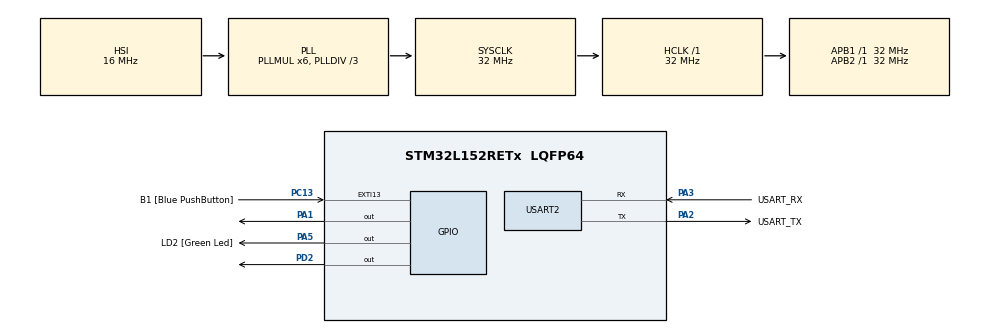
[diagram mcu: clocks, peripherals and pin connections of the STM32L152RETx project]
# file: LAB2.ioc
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Mcu.Family=STM32L1
Mcu.Name=STM32L152RETx
Mcu.Package=LQFP64
NVIC.PriorityGroup=NVIC_PRIORITYGROUP_0
PA1.Signal=GPIO_Output
PA13.GPIO_Label=TMS
PA13.Mode=Serial_Wire
PA13.Signal=SYS_JTMS-SWDIO
PA14.GPIO_Label=TCK
PA14.Mode=Serial_Wire
PA14.Signal=SYS_JTCK-SWCLK
PA2.GPIO_Label=USART_TX
PA2.Mode=Asynchronous
PA2.Signal=USART2_TX
PA3.GPIO_Label=USART_RX
PA3.Mode=Asynchronous
PA3.Signal=USART2_RX
PA5.GPIO_Label=LD2 [Green Led]
PA5.Signal=GPIO_Output
PB3.GPIO_Label=SWO
PB3.Signal=SYS_JTDO-TRACESWO
PC13-WKUP2.GPIO_Label=B1 [Blue PushButton]
PC13-WKUP2.Signal=GPXTI13
PC14-OSC32_IN.Mode=LSE-External-Oscillator
PC14-OSC32_IN.Signal=RCC_OSC32_IN
PC15-OSC32_OUT.Mode=LSE-External-Oscillator
PC15-OSC32_OUT.Signal=RCC_OSC32_OUT
PD2.Signal=GPIO_Output
PH0-OSC_IN.Mode=HSE-External-Clock-Source
PH0-OSC_IN.Signal=RCC_OSC_IN
PH1-OSC_OUT.Signal=RCC_OSC_OUT
ProjectManager.HeapSize=0x200
ProjectManager.StackSize=0x400
ProjectManager.TargetToolchain=STM32CubeIDE
RCC.48MHZClocksFreq_Value=48000000
RCC.AHBFreq_Value=32000000
RCC.APB1Freq_Value=32000000
RCC.APB1TimFreq_Value=32000000
RCC.APB2Freq_Value=32000000
RCC.APB2TimFreq_Value=32000000
RCC.HCLKFreq_Value=32000000
RCC.HSE_VALUE=8000000
RCC.HSI_VALUE=16000000
RCC.MSI_VALUE=2097000
RCC.PLLDIV=RCC_PLL_DIV3
RCC.PLLMUL=RCC_PLL_MUL6
RCC.RTCClockSelectionVirtual=RCC_RTCCLKSOURCE_LSE
RCC.SYSCLKFreq_VALUE=32000000
RCC.SYSCLKSource=RCC_SYSCLKSOURCE_PLLCLK
RCC.USBOutput=48000000
RCC.VCOOutputFreq_Value=96000000
USART2.VirtualMode=VM_ASYNC
VP_TIM2_VS_ClockSourceINT.Mode=Internal
VP_TIM3_VS_ClockSourceINT.Mode=Internal
board=NUCLEO-L152RE

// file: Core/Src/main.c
/* IN THIS LAB WE WILL LEARN HOW TO USE THE ULTRASONIC SENSOR WITH TIMERS */
/* USER CODE BEGIN Header */
/**
  ******************************************************************************
  * @file           : main.c
  * @brief          : Main program body
  ******************************************************************************
  * @attention
  *
  * Copyright (c) 2023 STMicroelectronics.
  * All rights reserved.
  *
  * This software is licensed under terms that can be found in the LICENSE file
  * in the root directory of this software component.
  * If no LICENSE file comes with this software, it is provided AS-IS.
  *
  ******************************************************************************
  */
/* USER CODE END Header */
#include "main.h"

/* USER CODE BEGIN Includes */
#include "Utiles_SDM.h"
/* USER CODE END Includes */

TIM_HandleTypeDef htim2;
TIM_HandleTypeDef htim3;

UART_HandleTypeDef huart2;

/* USER CODE BEGIN PV */

unsigned char cadena[7];
unsigned short distance = 0;                // Measured distance in mm by the ultrasonic sensor
unsigned short triggerTime = 20;            // TIM2->CCR2
unsigned short detectionPeriod = 65000;     // TIM2->CCR3
unsigned short buzzerPeriod = 500;          // TIM2->CCR3
unsigned short startTime = 0;               // Stores the time at which the echo is triggered
int time = 0;
unsigned short buzzerToggleChange = 0;
unsigned short callDistanceFunction = 0, callTriggerFunction = 0, cicloFlag = 0, initialValue = 0;

/* USER CODE END PV */

void SystemClock_Config(void);
static void MX_GPIO_Init(void);
static void MX_USART2_UART_Init(void);
static void MX_TIM2_Init(void);
static void MX_TIM3_Init(void);
/* USER CODE BEGIN PFP */
void calculateDistance(void);   // Declarations of functions
void ultrasonicTrigger(void);
/* USER CODE END PFP */

/* USER CODE BEGIN 0 */

// TOGGLE BUZZER FUNCTION
void TIM3_IRQHandler(void) {
  if((TIM3->SR & 0x0002) != 0) {
    TIM3->CCR1 += buzzerPeriod;
    buzzerToggleChange++;
    if(buzzerToggleChange>1) buzzerToggleChange=0;
  }
  TIM3->SR &= ~(0x0002);
}

// CALCULATE DISTANCE FUNCTION
void calculateDistance(void) {
  // Apply the formula to calculate the distance (in mm) and store it in a variable
  distance = (0.034 * time) / 2;

}

// TRIGGER FUNCTION
void ultrasonicTrigger(void) {
  TIM3->CNT = 0;                      // Initialize the counter at 0
  GPIOD->BSRR = (1 << 2);             // Set Trigger PIN (1)
}

// HANDLES THE BUZZER AND ECHO TIM2
void TIM2_IRQHandler(void) {
  // Corresponds to the echo flag
  if((TIM2->SR & 0x0004) != 0) {      // CHANNEL 2
    TIM2->CCR2 += detectionPeriod;
    cicloFlag = 1;
    TIM2->SR &= ~(0x0004);
  }
}
/* USER CODE END 0 */

int main(void)
{

  /* MCU Configuration--------------------------------------------------------*/

  /* Reset of all peripherals, Initializes the Flash interface and the Systick. */
  HAL_Init();

  /* Configure the system clock */
  SystemClock_Config();

  /* Initialize all configured peripherals */
  MX_GPIO_Init();
  MX_USART2_UART_Init();
  MX_TIM2_Init();
  MX_TIM3_Init();
  /* USER CODE BEGIN 2 */

  // CONFIG BUZZER GPIO
  GPIOA->MODER &= ~(1 << (1*2 +1));    // PA1 as Digital Output (01)
  GPIOA->MODER |= (1 << (1*2));

  // CONFIG TRIGGER GPIO
  GPIOD->MODER &= ~(1 << (2*2 +1));   // PD2 as Digital Output (01)
  GPIOD->MODER |= (1 << (2*2));

  // CONFIG ECHO GPIO (TIM2 CH1)
  GPIOA->MODER |= (1 << (5*2 +1));    // PA5 as AF (10)
  GPIOA->MODER &= ~(1 << (5*2));
  GPIOA->AFR[0] &= ~(0x00F00000);
  GPIOA->AFR[0] |= (1 << 5*4);        // Select the AF1 for PA5

  // TIM2 CONFIG (TRIGGER ECHO & PPAL LOOP)
  // Select the internal clock
  TIM2->CR1 = 0x0000;     // ARPE = 0 (only for PWM); CEN = 0 (counter disabled for configuration)
  TIM2->CR2 = 0x0000;     // All zeros
  TIM2->SMCR = 0x0000;    // All zeros

  // Counter behavior setting
  TIM2->PSC = 31;            // freq_Counter = 32 MHz / 32 = 1 MHz -->> T_Counter = 1 us
  TIM2->CNT = 0;              // Initialize the counter at 0
  TIM2->ARR = 0xFFFF;         // Maximum value
  TIM2->CCR1 = 0xFFFF;
  TIM2->CCR2 = detectionPeriod;   // CCR3 = 65000 (PPal Loop)

  // Setting IRQ or not
  TIM2->DIER &= ~(0xFF);
  //TIM2->DIER |= (1<<1);       // Enable IRQ for Channel 1 (CC1E)
  TIM2->DIER |= (1<<2);

  // Output mode
  TIM2->CCMR1 &= ~(0xFFFF);   // Clear CCMR1 register
  TIM2->CCMR1 |= 0x0001;      // CC1S = 01 (TIC); CC2S = 00 (TOC); OC2PE = 0 (only for PWM); OC2M = 011 (Toogle)
  TIM2->CCER = 0x000b;

  // Counter enabling
  TIM2->CR1 |= 0x0001;        // CEN = 1 -->> Start counter
  TIM2->EGR |= 0x0001;        // UG = 1 -->> Update all registers
  TIM2->SR = 0x0000;          // Clear counter flags

  // Enabling TIM2_IRQ at NVIC
  NVIC->ISER[0] |= (1 << 28);

  //TIM3 CONFIG (BUZZER)
  // Select the internal clock
  TIM3->CR1 = 0x0000;         // ARPE = 0 (only for PWM); CEN = 0 (counter disabled for configuration)
  TIM3->CR2 = 0x0000;         // All zeros
  TIM3->SMCR = 0x0000;        // All zeros

  //Counter behavior setting
  TIM3->PSC = 31999;             // freq_Counter = 32 MHz / 32000 = 1 kHz -->> T_Counter = 1 ms -->> CCR = 500
  TIM3->CNT = 0;              // Initialize the counter at 0
  TIM3->ARR = 0xFFFF;         // Set to the maximum
  TIM3->CCR1 = buzzerPeriod;   // The first value = 11 = 11 us. Stores the value of the delay. Will be updated

  // Setting IRQ or not
  TIM3->DIER |= (0x0002);    // We disable an IRQ in channel 1

  // Output mode
  TIM3->CCMR1 &= ~(0xFFFF);   // Clear CCMR1 register
  TIM3->CCMR1 = 0x0000;      // CC1S = 0 (TOC); OC1M = 000 (no output); OC1PE = 0 (No preload)
  TIM3->CCER = 0x0000;        // CC1NP = 0; CC1P = 0; CC1E = 0 (Disable output)

  // Counter enabling
  TIM3->CR1 |= 0x0001;        // CEN = 1 -->> Start counter
  TIM3->EGR |= 0x0001;        // UG = 1 -->> Update all registers
  TIM3->SR = 0x0000;          // Clear counter flags

  // Enabling TIM3_IRQ at NVIC
  NVIC->ISER[0] |= (1 << 29);

  /* USER CODE END 2 */

  /* Infinite loop */
  /* USER CODE BEGIN WHILE */
  while (1)
  {
    if(cicloFlag == 1) {

      GPIOD->BSRR = (1 << 2);
      initialValue = TIM2->CNT;
      while(TIM2->CNT < (initialValue + triggerTime));
      GPIOD->BSRR = (1 << 2)<<16;

      while((TIM2->SR & 0x0002) == 0);
      TIM2->SR &= ~(0x0002);
      startTime = TIM2->CCR1;

      while((TIM2->SR & 0x0002) == 0);
      TIM2->SR &= ~(0x0002);

      time = TIM2->CCR1 - startTime;
      if(time < 0) time += 0xFFFF;

      calculateDistance();

      cicloFlag = 0;
    }

    if(distance < 10) {
      GPIOA->BSRR = (1 << 1);
    }
    else if(distance >= 10 && distance <= 20) {
      if(buzzerToggleChange == 1) {
        GPIOA->BSRR = (1 << 1);
      }
      if(buzzerToggleChange == 0) {
        GPIOA->BSRR = (1 << 1)<<16;
      }
    }
    else {
      GPIOA->BSRR = (1 << 1)<<16;
    }
    Bin2Ascii(buzzerToggleChange, cadena);
    printf("%s\n\r", cadena);   // Show if the results are what we expected
    /* USER CODE END WHILE */

  }
}

void SystemClock_Config(void)
{
  RCC_OscInitTypeDef RCC_OscInitStruct = {0};
  RCC_ClkInitTypeDef RCC_ClkInitStruct = {0};

  /** Configure the main internal regulator output voltage
  */
  __HAL_PWR_VOLTAGESCALING_CONFIG(PWR_REGULATOR_VOLTAGE_SCALE1);

  /** Initializes the RCC Oscillators according to the specified parameters
  * in the RCC_OscInitTypeDef structure.
  */
  RCC_OscInitStruct.OscillatorType = RCC_OSCILLATORTYPE_HSI;
  RCC_OscInitStruct.HSIState = RCC_HSI_ON;
  RCC_OscInitStruct.HSICalibrationValue = RCC_HSICALIBRATION_DEFAULT;
  RCC_OscInitStruct.PLL.PLLState = RCC_PLL_ON;
  RCC_OscInitStruct.PLL.PLLSource = RCC_PLLSOURCE_HSI;
  RCC_OscInitStruct.PLL.PLLMUL = RCC_PLL_MUL6;
  RCC_OscInitStruct.PLL.PLLDIV = RCC_PLL_DIV3;
  if (HAL_RCC_OscConfig(&RCC_OscInitStruct) != HAL_OK)
  {
    Error_Handler();
  }

  /** Initializes the CPU, AHB and APB buses clocks
  */
  RCC_ClkInitStruct.ClockType = RCC_CLOCKTYPE_HCLK|RCC_CLOCKTYPE_SYSCLK
                              |RCC_CLOCKTYPE_PCLK1|RCC_CLOCKTYPE_PCLK2;
  RCC_ClkInitStruct.SYSCLKSource = RCC_SYSCLKSOURCE_PLLCLK;
  RCC_ClkInitStruct.AHBCLKDivider = RCC_SYSCLK_DIV1;
  RCC_ClkInitStruct.APB1CLKDivider = RCC_HCLK_DIV1;
  RCC_ClkInitStruct.APB2CLKDivider = RCC_HCLK_DIV1;

  if (HAL_RCC_ClockConfig(&RCC_ClkInitStruct, FLASH_LATENCY_1) != HAL_OK)
  {
    Error_Handler();
  }
}

static void MX_TIM2_Init(void)
{

  TIM_ClockConfigTypeDef sClockSourceConfig = {0};
  TIM_MasterConfigTypeDef sMasterConfig = {0};

  htim2.Instance = TIM2;
  htim2.Init.Prescaler = 0;
  htim2.Init.CounterMode = TIM_COUNTERMODE_UP;
  htim2.Init.Period = 65535;
  htim2.Init.ClockDivision = TIM_CLOCKDIVISION_DIV1;
  htim2.Init.AutoReloadPreload = TIM_AUTORELOAD_PRELOAD_DISABLE;
  if (HAL_TIM_Base_Init(&htim2) != HAL_OK)
  {
    Error_Handler();
  }
  sClockSourceConfig.ClockSource = TIM_CLOCKSOURCE_INTERNAL;
  if (HAL_TIM_ConfigClockSource(&htim2, &sClockSourceConfig) != HAL_OK)
  {
    Error_Handler();
  }
  sMasterConfig.MasterOutputTrigger = TIM_TRGO_RESET;
  sMasterConfig.MasterSlaveMode = TIM_MASTERSLAVEMODE_DISABLE;
  if (HAL_TIMEx_MasterConfigSynchronization(&htim2, &sMasterConfig) != HAL_OK)
  {
    Error_Handler();
  }

}

static void MX_TIM3_Init(void)
{

  TIM_ClockConfigTypeDef sClockSourceConfig = {0};
  TIM_MasterConfigTypeDef sMasterConfig = {0};

  htim3.Instance = TIM3;
  htim3.Init.Prescaler = 0;
  htim3.Init.CounterMode = TIM_COUNTERMODE_UP;
  htim3.Init.Period = 65535;
  htim3.Init.ClockDivision = TIM_CLOCKDIVISION_DIV1;
  htim3.Init.AutoReloadPreload = TIM_AUTORELOAD_PRELOAD_DISABLE;
  if (HAL_TIM_Base_Init(&htim3) != HAL_OK)
  {
    Error_Handler();
  }
  sClockSourceConfig.ClockSource = TIM_CLOCKSOURCE_INTERNAL;
  if (HAL_TIM_ConfigClockSource(&htim3, &sClockSourceConfig) != HAL_OK)
  {
    Error_Handler();
  }
  sMasterConfig.MasterOutputTrigger = TIM_TRGO_RESET;
  sMasterConfig.MasterSlaveMode = TIM_MASTERSLAVEMODE_DISABLE;
  if (HAL_TIMEx_MasterConfigSynchronization(&htim3, &sMasterConfig) != HAL_OK)
  {
    Error_Handler();
  }

}

static void MX_USART2_UART_Init(void)
{

  huart2.Instance = USART2;
  huart2.Init.BaudRate = 115200;
  huart2.Init.WordLength = UART_WORDLENGTH_8B;
  huart2.Init.StopBits = UART_STOPBITS_1;
  huart2.Init.Parity = UART_PARITY_NONE;
  huart2.Init.Mode = UART_MODE_TX_RX;
  huart2.Init.HwFlowCtl = UART_HWCONTROL_NONE;
  huart2.Init.OverSampling = UART_OVERSAMPLING_16;
  if (HAL_UART_Init(&huart2) != HAL_OK)
  {
    Error_Handler();
  }

}

static void MX_GPIO_Init(void)
{
  GPIO_InitTypeDef GPIO_InitStruct = {0};

  /* GPIO Ports Clock Enable */
  __HAL_RCC_GPIOC_CLK_ENABLE();
  __HAL_RCC_GPIOH_CLK_ENABLE();
  __HAL_RCC_GPIOA_CLK_ENABLE();
  __HAL_RCC_GPIOD_CLK_ENABLE();
  __HAL_RCC_GPIOB_CLK_ENABLE();

  /*Configure GPIO pin Output Level */
  HAL_GPIO_WritePin(GPIOA, GPIO_PIN_1|LD2_Pin, GPIO_PIN_RESET);

  /*Configure GPIO pin Output Level */
  HAL_GPIO_WritePin(GPIOD, GPIO_PIN_2, GPIO_PIN_RESET);

  /*Configure GPIO pin : B1_Pin */
  GPIO_InitStruct.Pin = B1_Pin;
  GPIO_InitStruct.Mode = GPIO_MODE_IT_RISING;
  GPIO_InitStruct.Pull = GPIO_NOPULL;
  HAL_GPIO_Init(B1_GPIO_Port, &GPIO_InitStruct);

  /*Configure GPIO pins : PA1 LD2_Pin */
  GPIO_InitStruct.Pin = GPIO_PIN_1|LD2_Pin;
  GPIO_InitStruct.Mode = GPIO_MODE_OUTPUT_PP;
  GPIO_InitStruct.Pull = GPIO_NOPULL;
  GPIO_InitStruct.Speed = GPIO_SPEED_FREQ_LOW;
  HAL_GPIO_Init(GPIOA, &GPIO_InitStruct);

  /*Configure GPIO pin : PD2 */
  GPIO_InitStruct.Pin = GPIO_PIN_2;
  GPIO_InitStruct.Mode = GPIO_MODE_OUTPUT_PP;
  GPIO_InitStruct.Pull = GPIO_NOPULL;
  GPIO_InitStruct.Speed = GPIO_SPEED_FREQ_LOW;
  HAL_GPIO_Init(GPIOD, &GPIO_InitStruct);

}

void Error_Handler(void)
{
  __disable_irq();
  while (1)
  {
  }
}
